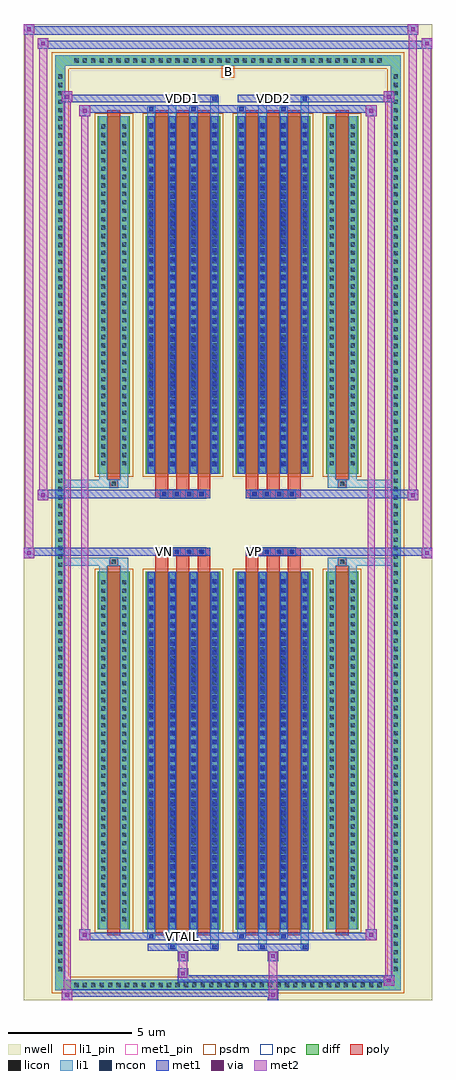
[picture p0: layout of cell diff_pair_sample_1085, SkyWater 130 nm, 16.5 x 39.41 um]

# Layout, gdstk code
import gdstk
lib = gdstk.Library(unit=1e-6, precision=5e-09)
def R(c, l, rs):  # rectangles x0, y0, x1, y1
    for r in rs: c.add(gdstk.rectangle(r[:2], r[2:], *l))
def A(c, l, x, y, w, h, nx, ny, dx, dy):  # array of equal rectangles
    R(c, l, [(x+i*dx, y+j*dy, x+i*dx+w, y+j*dy+h) for i in range(nx) for j in range(ny)])
def P(c, l, *ps):  # polygons
    for p in ps: c.add(gdstk.Polygon(p, *l))
nwell = (64, 20)
diff = (65, 20)
poly = (66, 20)
licon = (66, 44)
li1_pin = (67, 16)
li1 = (67, 20)
mcon = (67, 44)
met1_pin = (68, 16)
met1 = (68, 20)
via = (68, 44)
met2 = (69, 20)
psdm = (94, 20)
npc = (95, 20)

diff_pair_sample_1085 = lib.new_cell('diff_pair_sample_1085')
R(diff_pair_sample_1085, nwell, [(-8.25,-19.27,8.25,20.14), (-5.57,-17.46,-0.01,-0.8), (0.01,-17.46,5.57,-0.8), (-5.57,0.8,-0.01,17.46), (0.01,0.8,5.57,17.46)])
A(diff_pair_sample_1085, diff, -6.325, -18.87, 0.41, 0.41, 37, 2, 0.34, 37.33)
A(diff_pair_sample_1085, diff, -6.98, -18.225, 0.41, 0.41, 1, 107, 0, 0.34)
A(diff_pair_sample_1085, diff, 6.57, -18.225, 0.41, 0.41, 1, 107, 0, 0.34)
R(diff_pair_sample_1085, diff, [(-6.325,-18.87,6.325,-18.46), (-6.98,-18.225,-6.57,18.225), (6.57,-18.225,6.98,18.225), (-5.26,-16.415,-3.96,-1.985), (-3.32,-16.415,-0.32,-1.985), (0.32,-16.415,3.32,-1.985), (3.96,-16.415,5.26,-1.985), (-5.26,1.985,-3.96,16.415), (-3.32,1.985,-0.32,16.415), (0.32,1.985,3.32,16.415), (3.96,1.985,5.26,16.415), (-6.325,18.46,6.325,18.87)])
P(diff_pair_sample_1085, diff, [(6.98,18.87),(-6.98,18.87),(-6.98,-18.46),(-6.57,-18.46),(-6.57,18.46),(6.57,18.46),(6.57,-18.46),(-6.57,-18.46),(-6.98,-18.46),(-6.98,-18.87),(6.98,-18.87)])
A(diff_pair_sample_1085, poly, -2.93, -16.665, 0.52, 14.93, 3, 2, 0.85, 18.4)
A(diff_pair_sample_1085, poly, 0.71, -16.665, 0.52, 14.93, 3, 2, 0.85, 18.4)
A(diff_pair_sample_1085, poly, -2.93, -1.735, 0.52, 0.405, 3, 2, 0.85, 3.065)
A(diff_pair_sample_1085, poly, 0.71, -1.735, 0.52, 0.405, 3, 2, 0.85, 3.065)
A(diff_pair_sample_1085, poly, -2.735, -1.33, 0.33, 0.33, 4, 2, 0.5, 2.33)
A(diff_pair_sample_1085, poly, 0.905, -1.33, 0.33, 0.33, 4, 2, 0.5, 2.33)
R(diff_pair_sample_1085, poly, [(-4.87,-16.665,-4.35,-1.735), (4.35,-16.665,4.87,-1.735), (-4.775,-1.735,-4.445,-1.405), (-4.775,-1.735,-4.445,-1.405), (4.445,-1.735,4.775,-1.405), (4.445,-1.735,4.775,-1.405), (-2.93,-1.33,-0.71,-1), (0.71,-1.33,2.93,-1), (-2.93,1,-0.71,1.33), (0.71,1,2.93,1.33), (-4.775,1.405,-4.445,1.735), (-4.775,1.405,-4.445,1.735), (4.445,1.405,4.775,1.735), (4.445,1.405,4.775,1.735), (-4.87,1.735,-4.35,16.665), (4.35,1.735,4.87,16.665)])
A(diff_pair_sample_1085, licon, -6.205, -18.75, 0.17, 0.17, 37, 2, 0.34, 37.33)
A(diff_pair_sample_1085, licon, -6.86, -18.105, 0.17, 0.17, 1, 107, 0, 0.34)
A(diff_pair_sample_1085, licon, 6.69, -18.105, 0.17, 0.17, 1, 107, 0, 0.34)
A(diff_pair_sample_1085, licon, -5.12, -16.085, 0.17, 0.17, 1, 41, 0, 0.34)
A(diff_pair_sample_1085, licon, -4.27, -16.085, 0.17, 0.17, 1, 41, 0, 0.34)
A(diff_pair_sample_1085, licon, -3.18, -16.085, 0.17, 0.17, 4, 41, 0.85, 0.34)
A(diff_pair_sample_1085, licon, 0.46, -16.085, 0.17, 0.17, 4, 41, 0.85, 0.34)
A(diff_pair_sample_1085, licon, 4.1, -16.085, 0.17, 0.17, 1, 41, 0, 0.34)
A(diff_pair_sample_1085, licon, 4.95, -16.085, 0.17, 0.17, 1, 41, 0, 0.34)
A(diff_pair_sample_1085, licon, -2.655, -1.25, 0.17, 0.17, 4, 2, 0.5, 2.33)
A(diff_pair_sample_1085, licon, 0.985, -1.25, 0.17, 0.17, 4, 2, 0.5, 2.33)
A(diff_pair_sample_1085, licon, -5.12, 2.315, 0.17, 0.17, 1, 41, 0, 0.34)
A(diff_pair_sample_1085, licon, -4.27, 2.315, 0.17, 0.17, 1, 41, 0, 0.34)
A(diff_pair_sample_1085, licon, -3.18, 2.315, 0.17, 0.17, 4, 41, 0.85, 0.34)
A(diff_pair_sample_1085, licon, 0.46, 2.315, 0.17, 0.17, 4, 41, 0.85, 0.34)
A(diff_pair_sample_1085, licon, 4.1, 2.315, 0.17, 0.17, 1, 41, 0, 0.34)
A(diff_pair_sample_1085, licon, 4.95, 2.315, 0.17, 0.17, 1, 41, 0, 0.34)
R(diff_pair_sample_1085, licon, [(-4.695,-1.655,-4.525,-1.485), (4.525,-1.655,4.695,-1.485), (-4.695,1.485,-4.525,1.655), (4.525,1.485,4.695,1.655)])
R(diff_pair_sample_1085, li1_pin, [(-0.25,17.96,0.25,18.46)])
A(diff_pair_sample_1085, li1, -6.285, -18.83, 0.33, 0.33, 37, 2, 0.34, 37.33)
A(diff_pair_sample_1085, li1, -6.94, -18.185, 0.33, 0.33, 1, 107, 0, 0.34)
A(diff_pair_sample_1085, li1, 6.61, -18.185, 0.33, 0.33, 1, 107, 0, 0.34)
A(diff_pair_sample_1085, li1, -3.26, -16.415, 0.33, 14.43, 4, 2, 0.85, 18.4)
A(diff_pair_sample_1085, li1, 0.38, -16.415, 0.33, 14.43, 4, 2, 0.85, 18.4)
A(diff_pair_sample_1085, li1, -5.2, -16.165, 0.33, 0.33, 1, 41, 0, 0.34)
A(diff_pair_sample_1085, li1, -4.35, -16.165, 0.33, 0.33, 1, 41, 0, 0.34)
A(diff_pair_sample_1085, li1, -3.26, -16.165, 0.33, 0.33, 4, 41, 0.85, 0.34)
A(diff_pair_sample_1085, li1, 0.38, -16.165, 0.33, 0.33, 4, 41, 0.85, 0.34)
A(diff_pair_sample_1085, li1, 4.02, -16.165, 0.33, 0.33, 1, 41, 0, 0.34)
A(diff_pair_sample_1085, li1, 4.87, -16.165, 0.33, 0.33, 1, 41, 0, 0.34)
A(diff_pair_sample_1085, li1, -3.18, -16.125, 0.17, 0.17, 4, 39, 0.85, 0.36)
A(diff_pair_sample_1085, li1, -3.18, -16.125, 0.17, 13.85, 4, 2, 0.85, 18.4)
A(diff_pair_sample_1085, li1, 0.46, -16.125, 0.17, 0.17, 4, 39, 0.85, 0.36)
A(diff_pair_sample_1085, li1, 0.46, -16.125, 0.17, 13.85, 4, 2, 0.85, 18.4)
A(diff_pair_sample_1085, li1, -2.735, -1.33, 0.33, 0.33, 4, 2, 0.5, 2.33)
A(diff_pair_sample_1085, li1, 0.905, -1.33, 0.33, 0.33, 4, 2, 0.5, 2.33)
A(diff_pair_sample_1085, li1, -5.2, 2.235, 0.33, 0.33, 1, 41, 0, 0.34)
A(diff_pair_sample_1085, li1, -4.35, 2.235, 0.33, 0.33, 1, 41, 0, 0.34)
A(diff_pair_sample_1085, li1, -3.26, 2.235, 0.33, 0.33, 4, 41, 0.85, 0.34)
A(diff_pair_sample_1085, li1, 0.38, 2.235, 0.33, 0.33, 4, 41, 0.85, 0.34)
A(diff_pair_sample_1085, li1, 4.02, 2.235, 0.33, 0.33, 1, 41, 0, 0.34)
A(diff_pair_sample_1085, li1, 4.87, 2.235, 0.33, 0.33, 1, 41, 0, 0.34)
A(diff_pair_sample_1085, li1, -3.18, 2.275, 0.17, 0.17, 4, 39, 0.85, 0.36)
A(diff_pair_sample_1085, li1, 0.46, 2.275, 0.17, 0.17, 4, 39, 0.85, 0.36)
R(diff_pair_sample_1085, li1, [(-6.98,-18.87,-6.57,-18.46), (-6.98,-18.87,-6.57,-18.46), (-6.57,-18.87,6.57,-18.46), (6.57,-18.87,6.98,-18.46), (6.57,-18.87,6.98,-18.46), (-6.98,-18.46,-6.57,18.46), (6.57,-18.46,6.98,18.46), (-2.41,-17.22,-2.08,-16.415), (-2.33,-17.22,-2.16,-17.05), (-0.71,-17.22,-0.38,-16.415), (-0.63,-17.22,-0.46,-17.05), (1.23,-17.22,1.56,-16.415), (1.31,-17.22,1.48,-17.05), (2.93,-17.22,3.26,-16.415), (3.01,-17.22,3.18,-17.05), (-3.26,-16.79,-2.93,-16.415), (-3.18,-16.79,-3.01,-16.62), (-1.56,-16.79,-1.23,-16.415), (-1.48,-16.79,-1.31,-16.62), (0.38,-16.79,0.71,-16.415), (0.46,-16.79,0.63,-16.62), (2.08,-16.79,2.41,-16.415), (2.16,-16.79,2.33,-16.62), (-5.2,-16.415,-4.87,-1.985), (-4.35,-16.415,-4.02,-1.985), (4.02,-16.415,4.35,-1.985), (4.87,-16.415,5.2,-1.985), (-5.2,-1.985,-4.87,-1.405), (-4.35,-1.985,-4.02,-1.405), (4.02,-1.985,4.35,-1.405), (4.87,-1.985,5.2,-1.405), (-6.98,-1.735,-4.775,-1.405), (-5.2,-1.735,-4.775,-1.405), (-4.775,-1.735,-4.445,-1.405), (-4.445,-1.735,-4.02,-1.405), (4.02,-1.735,4.445,-1.405), (4.445,-1.735,4.775,-1.405), (4.445,-1.735,6.98,-1.405), (4.775,-1.735,5.2,-1.405), (-6.98,1.405,-4.775,1.735), (-5.2,1.405,-4.775,1.735), (-5.2,1.405,-4.87,1.985), (-4.775,1.405,-4.445,1.735), (-4.445,1.405,-4.02,1.735), (-4.35,1.405,-4.02,1.985), (4.02,1.405,4.445,1.735), (4.02,1.405,4.35,1.985), (4.445,1.405,4.775,1.735), (4.445,1.405,6.98,1.735), (4.775,1.405,5.2,1.735), (4.87,1.405,5.2,1.985), (-5.2,1.985,-4.87,16.415), (-4.35,1.985,-4.02,16.415), (4.02,1.985,4.35,16.415), (4.87,1.985,5.2,16.415), (-3.26,16.415,-2.93,16.79), (-2.41,16.415,-2.08,17.22), (-1.56,16.415,-1.23,16.79), (-0.71,16.415,-0.38,17.22), (0.38,16.415,0.71,16.79), (1.23,16.415,1.56,17.22), (2.08,16.415,2.41,16.79), (2.93,16.415,3.26,17.22), (-3.18,16.62,-3.01,16.79), (-1.48,16.62,-1.31,16.79), (0.46,16.62,0.63,16.79), (2.16,16.62,2.33,16.79), (-2.33,17.05,-2.16,17.22), (-0.63,17.05,-0.46,17.22), (1.31,17.05,1.48,17.22), (3.01,17.05,3.18,17.22), (-6.98,18.46,-6.57,18.87), (-6.98,18.46,-6.57,18.87), (-6.57,18.46,6.57,18.87), (6.57,18.46,6.98,18.87), (6.57,18.46,6.98,18.87)])
A(diff_pair_sample_1085, mcon, -3.18, -16.125, 0.17, 0.17, 4, 39, 0.85, 0.36)
A(diff_pair_sample_1085, mcon, 0.46, -16.125, 0.17, 0.17, 4, 39, 0.85, 0.36)
A(diff_pair_sample_1085, mcon, -2.655, -1.25, 0.17, 0.17, 4, 2, 0.5, 2.33)
A(diff_pair_sample_1085, mcon, 0.985, -1.25, 0.17, 0.17, 4, 2, 0.5, 2.33)
A(diff_pair_sample_1085, mcon, -3.18, 2.275, 0.17, 0.17, 4, 39, 0.85, 0.36)
A(diff_pair_sample_1085, mcon, 0.46, 2.275, 0.17, 0.17, 4, 39, 0.85, 0.36)
R(diff_pair_sample_1085, mcon, [(-2.33,-17.22,-2.16,-17.05), (-0.63,-17.22,-0.46,-17.05), (1.31,-17.22,1.48,-17.05), (3.01,-17.22,3.18,-17.05), (-3.18,-16.79,-3.01,-16.62), (-1.48,-16.79,-1.31,-16.62), (0.46,-16.79,0.63,-16.62), (2.16,-16.79,2.33,-16.62), (-3.18,16.62,-3.01,16.79), (-1.48,16.62,-1.31,16.79), (0.46,16.62,0.63,16.79), (2.16,16.62,2.33,16.79), (-2.33,17.05,-2.16,17.22), (-0.63,17.05,-0.46,17.22), (1.31,17.05,1.48,17.22), (3.01,17.05,3.18,17.22)])
R(diff_pair_sample_1085, met1_pin, [(-1.955,-16.83,-1.685,-16.56), (-2.705,-1.29,-2.435,-1.02), (0.935,-1.29,1.205,-1.02), (-1.955,17.01,-1.685,17.28), (1.685,17.01,1.955,17.28)])
A(diff_pair_sample_1085, met1, -3.24, -16.415, 0.29, 14.43, 4, 2, 0.85, 18.4)
A(diff_pair_sample_1085, met1, 0.4, -16.415, 0.29, 14.43, 4, 2, 0.85, 18.4)
A(diff_pair_sample_1085, met1, -3.24, -16.185, 0.29, 0.29, 4, 39, 0.85, 0.36)
A(diff_pair_sample_1085, met1, 0.4, -16.185, 0.29, 0.29, 4, 39, 0.85, 0.36)
A(diff_pair_sample_1085, met1, -2.715, -1.31, 0.29, 0.29, 4, 2, 0.5, 2.33)
A(diff_pair_sample_1085, met1, 0.925, -1.31, 0.29, 0.29, 4, 2, 0.5, 2.33)
A(diff_pair_sample_1085, met1, -3.24, 2.215, 0.29, 0.29, 4, 39, 0.85, 0.36)
A(diff_pair_sample_1085, met1, 0.4, 2.215, 0.29, 0.29, 4, 39, 0.85, 0.36)
R(diff_pair_sample_1085, met1, [(-6.71,-19.27,-6.28,-18.84), (1.605,-19.27,2.035,-18.84), (-6.71,-19.13,2.035,-18.84), (6.28,-18.7,6.71,-18.27), (-2.035,-18.56,6.71,-18.27), (-2.035,-18.42,-1.605,-17.99), (-2.035,-17.71,-1.605,-17.28), (1.605,-17.71,2.035,-17.28), (-3.24,-17.28,-0.4,-16.99), (-2.39,-17.28,-2.1,-16.99), (-0.69,-17.28,-0.4,-16.99), (0.4,-17.28,3.24,-16.99), (1.25,-17.28,1.54,-16.99), (2.95,-17.28,3.24,-16.99), (-6,-16.85,-5.57,-16.42), (-6,-16.85,-3.24,-16.56), (-3.24,-16.85,-2.95,-16.56), (-3.24,-16.85,-0.4,-16.56), (-1.54,-16.85,-1.25,-16.56), (-0.4,-16.85,0.4,-16.56), (0.4,-16.85,0.69,-16.56), (0.4,-16.85,3.24,-16.56), (2.1,-16.85,2.39,-16.56), (3.24,-16.85,6,-16.56), (5.57,-16.85,6,-16.42), (-8.25,-1.43,-7.82,-1), (7.82,-1.43,8.25,-1), (-8.25,-1.33,-0.71,-1), (-2.93,-1.33,-0.71,-1), (0.71,-1.33,2.93,-1), (0.71,-1.33,8.25,-1), (-7.68,0.9,-7.25,1.33), (7.25,0.9,7.68,1.33), (-7.68,1,-2.93,1.33), (-2.93,1,-0.71,1.33), (0.71,1,2.93,1.33), (2.93,1,7.68,1.33), (-6,16.42,-5.57,16.85), (5.57,16.42,6,16.85), (-6,16.56,-3.24,16.85), (-3.24,16.56,-2.95,16.85), (-3.24,16.56,-0.4,16.85), (-1.54,16.56,-1.25,16.85), (-0.4,16.56,0.4,16.85), (0.4,16.56,0.69,16.85), (0.4,16.56,3.24,16.85), (2.1,16.56,2.39,16.85), (3.24,16.56,6,16.85), (-6.71,16.99,-6.28,17.42), (-6.71,16.99,-3.24,17.28), (-3.24,16.99,-0.4,17.28), (-2.39,16.99,-2.1,17.28), (-0.69,16.99,-0.4,17.28), (0.4,16.99,3.24,17.28), (1.25,16.99,1.54,17.28), (2.95,16.99,3.24,17.28), (3.24,16.99,6.71,17.28), (6.28,16.99,6.71,17.42), (-7.68,19.14,-7.25,19.57), (-7.68,19.14,-5.57,19.47), (-5.57,19.14,5.57,19.47), (5.57,19.14,8.25,19.47), (7.82,19.14,8.25,19.57), (-8.25,19.71,-7.82,20.14), (-8.25,19.71,-5.57,20.04), (-5.57,19.71,5.57,20.04), (5.57,19.71,7.68,20.04), (7.25,19.71,7.68,20.14)])
R(diff_pair_sample_1085, via, [(-6.57,-19.13,-6.42,-18.98), (1.745,-19.13,1.895,-18.98), (6.42,-18.56,6.57,-18.41), (-1.895,-18.28,-1.745,-18.13), (-1.895,-17.57,-1.745,-17.42), (1.745,-17.57,1.895,-17.42), (-5.86,-16.71,-5.71,-16.56), (5.71,-16.71,5.86,-16.56), (-8.11,-1.29,-7.96,-1.14), (7.96,-1.29,8.11,-1.14), (-7.54,1.04,-7.39,1.19), (7.39,1.04,7.54,1.19), (-5.86,16.56,-5.71,16.71), (5.71,16.56,5.86,16.71), (-6.57,17.13,-6.42,17.28), (6.42,17.13,6.57,17.28), (-7.54,19.28,-7.39,19.43), (7.96,19.28,8.11,19.43), (-8.11,19.85,-7.96,20), (7.39,19.85,7.54,20)])
R(diff_pair_sample_1085, met2, [(-6.71,-19.27,-6.28,-18.84), (-6.64,-19.27,-6.35,17.42), (-6.35,-19.27,-6.28,-18.84), (-6.66,-19.22,-6.33,-18.89), (1.655,-19.22,1.985,-18.89), (1.655,-18.89,1.985,-17.66), (6.28,-18.7,6.71,-18.27), (6.35,-18.7,6.64,17.42), (6.64,-18.7,6.71,-18.27), (6.33,-18.65,6.66,-18.32), (-1.985,-18.37,-1.655,-18.04), (-1.985,-18.04,-1.655,-17.66), (-1.985,-17.66,-1.655,-17.33), (1.655,-17.66,1.985,-17.33), (-6,-16.85,-5.57,-16.42), (-5.93,-16.85,-5.64,16.85), (-5.64,-16.85,-5.57,-16.42), (5.57,-16.85,6,-16.42), (5.64,-16.85,5.93,16.85), (5.93,-16.85,6,-16.42), (-5.95,-16.8,-5.62,-16.47), (5.62,-16.8,5.95,-16.47), (-8.25,-1.43,-7.82,-1), (-8.2,-1.43,-7.87,20.14), (-7.87,-1.43,-7.82,-1), (7.82,-1.43,8.25,-1), (7.87,-1.43,8.2,19.57), (8.2,-1.43,8.25,-1), (-8.2,-1.38,-7.87,-1.05), (7.87,-1.38,8.2,-1.05), (-7.68,0.9,-7.25,1.33), (-7.63,0.9,-7.3,19.57), (-7.3,0.9,-7.25,1.33), (7.25,0.9,7.68,1.33), (7.3,0.9,7.63,20.14), (7.63,0.9,7.68,1.33), (-7.63,0.95,-7.3,1.28), (7.3,0.95,7.63,1.28), (-6,16.42,-5.57,16.85), (-5.64,16.42,-5.57,16.85), (5.57,16.42,6,16.85), (5.93,16.42,6,16.85), (-5.95,16.47,-5.62,16.8), (5.62,16.47,5.95,16.8), (-6.71,16.99,-6.28,17.42), (-6.35,16.99,-6.28,17.42), (6.28,16.99,6.71,17.42), (6.64,16.99,6.71,17.42), (-6.66,17.04,-6.33,17.37), (6.33,17.04,6.66,17.37), (-7.68,19.14,-7.25,19.57), (-7.3,19.14,-7.25,19.57), (7.82,19.14,8.25,19.57), (8.2,19.14,8.25,19.57), (-7.63,19.19,-7.3,19.52), (7.87,19.19,8.2,19.52), (-8.25,19.71,-7.82,20.14), (-7.87,19.71,-7.82,20.14), (7.25,19.71,7.68,20.14), (7.63,19.71,7.68,20.14), (-8.2,19.76,-7.87,20.09), (7.3,19.76,7.63,20.09)])
R(diff_pair_sample_1085, psdm, [(-5.39,-16.545,-3.83,-1.855), (-3.45,-16.545,-0.19,-1.855), (0.19,-16.545,3.45,-1.855), (3.83,-16.545,5.39,-1.855), (-5.39,1.855,-3.83,16.545), (-3.45,1.855,-0.19,16.545), (0.19,1.855,3.45,16.545), (3.83,1.855,5.39,16.545)])
P(diff_pair_sample_1085, psdm, [(7.11,19),(-7.11,19),(-7.11,-18.33),(-6.44,-18.33),(-6.44,18.33),(6.44,18.33),(6.44,-18.33),(-6.44,-18.33),(-7.11,-18.33),(-7.11,-19),(7.11,-19)])
A(diff_pair_sample_1085, npc, -2.755, -1.35, 0.37, 0.37, 4, 2, 0.5, 2.33)
A(diff_pair_sample_1085, npc, 0.885, -1.35, 0.37, 0.37, 4, 2, 0.5, 2.33)
R(diff_pair_sample_1085, npc, [(-4.795,-1.755,-4.425,-1.385), (4.425,-1.755,4.795,-1.385), (-2.755,-1.35,-1.885,-0.98), (-2.755,-1.35,-1.885,-0.98), (-2.255,-1.35,-1.385,-0.98), (-2.255,-1.35,-1.385,-0.98), (-1.755,-1.35,-0.885,-0.98), (-1.755,-1.35,-0.885,-0.98), (0.885,-1.35,1.755,-0.98), (0.885,-1.35,1.755,-0.98), (1.385,-1.35,2.255,-0.98), (1.385,-1.35,2.255,-0.98), (1.885,-1.35,2.755,-0.98), (1.885,-1.35,2.755,-0.98), (-2.755,0.98,-1.885,1.35), (-2.755,0.98,-1.885,1.35), (-2.255,0.98,-1.385,1.35), (-2.255,0.98,-1.385,1.35), (-1.755,0.98,-0.885,1.35), (-1.755,0.98,-0.885,1.35), (0.885,0.98,1.755,1.35), (0.885,0.98,1.755,1.35), (1.385,0.98,2.255,1.35), (1.385,0.98,2.255,1.35), (1.885,0.98,2.755,1.35), (1.885,0.98,2.755,1.35), (-4.795,1.385,-4.425,1.755), (4.425,1.385,4.795,1.755)])
diff_pair_sample_1085.add(gdstk.Label('VTAIL', (-1.82,-16.695), layer=68, texttype=5))
diff_pair_sample_1085.add(gdstk.Label('VN', (-2.57,-1.155), layer=68, texttype=5))
diff_pair_sample_1085.add(gdstk.Label('VP', (1.07,-1.155), layer=68, texttype=5))
diff_pair_sample_1085.add(gdstk.Label('B', (0,18.21), layer=67, texttype=5))
diff_pair_sample_1085.add(gdstk.Label('VDD2', (1.82,17.145), layer=68, texttype=5))
diff_pair_sample_1085.add(gdstk.Label('VDD1', (-1.82,17.145), layer=68, texttype=5))

lib.write_gds('diff_pair_sample_1085.gds')
